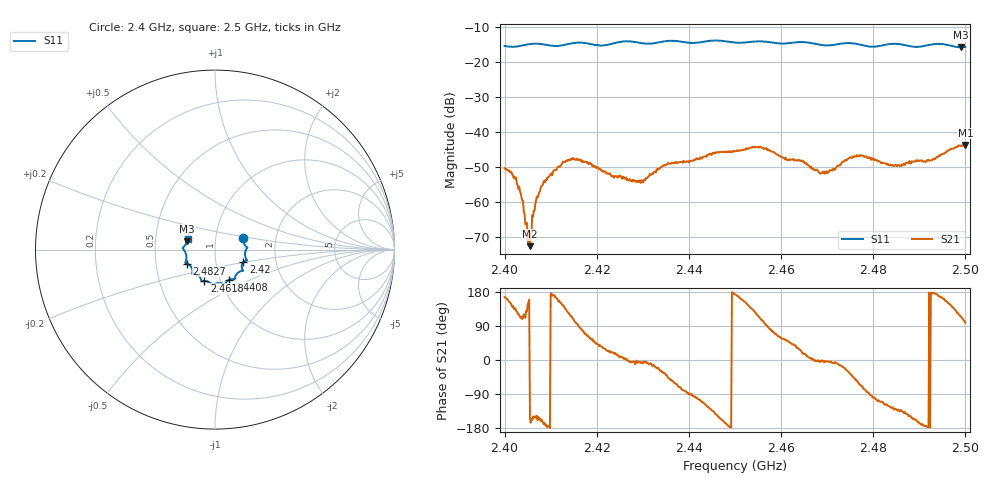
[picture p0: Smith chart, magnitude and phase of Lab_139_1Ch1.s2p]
# Hz S RI R 50
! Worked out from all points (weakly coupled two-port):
!   601 points, 2.4 GHz to 2.5 GHz, reference 50 ohm
!   highest |S21| = -43.73 dB at 2.5 GHz (marker M1); lowest = -72.6 dB at 2.4055 GHz (marker M2)
!   lowest |S11| = -15.8 dB at 2.499 GHz (marker M3), VSWR 1.39, Z = 36.5 + j3.53 ohm
!   |S11| at or under -10 dB: start of sweep to end of sweep
!   S12 and S22 are empty: the file has one direction only
!   S11 on the Smith chart (normalised r, x): 2.4 GHz: 1.36, +0.17; 2.42 GHz: 1.36, -0.19; 2.4408 GHz: 1.10, -0.38; 2.4618 GHz: 0.84, -0.30; 2.4827 GHz: 0.72, -0.12; 2.5 GHz: 0.73, +0.09
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2.4e9  0.1562 0.0624  -0.00294 0.000718  0 0  0 0
2.402667e9  0.1627 0.0299  -0.00113 0.00142  0 0  0 0
2.405e9  0.1765 0.0142  -0.000258 0.000179  0 0  0 0
2.4055e9  0.1788 0.013  -0.00021 -0.000103  0 0  0 0
2.4065e9  0.1811 0.0116  -0.000663 -0.00036  0 0  0 0
2.4085e9  0.1771 0.00585  -0.00194 -0.000363  0 0  0 0
2.413167e9  0.1702 -0.0428  -0.00267 0.00258  0 0  0 0
2.416667e9  0.1782 -0.0595  0.000559 0.00373  0 0  0 0
2.42e9  0.1579 -0.0692  0.00227 0.00215  0 0  0 0
2.429e9  0.1449 -0.1198  0.00196 -0.000219  0 0  0 0
2.433333e9  0.112 -0.1521  0.0028 -0.00105  0 0  0 0
2.440833e9  0.0789 -0.1687  -0.000368 -0.00388  0 0  0 0
2.45e9  0.0279 -0.186  -0.0053 0.000588  0 0  0 0
2.455667e9  -0.0134 -0.1955  -0.00171 0.0058  0 0  0 0
2.461833e9  -0.06 -0.1751  0.00283 0.00297  0 0  0 0
2.466667e9  -0.0769 -0.1684  0.003 3.81e-05  0 0  0 0
2.47e9  -0.0951 -0.1427  0.00258 -0.000168  0 0  0 0
2.477e9  -0.1254 -0.1244  0.00199 -0.00408  0 0  0 0
2.482667e9  -0.1572 -0.0778  -0.00162 -0.00313  0 0  0 0
2.483333e9  -0.1613 -0.0763  -0.00176 -0.0029  0 0  0 0
2.499e9  -0.1544 0.0472  -0.0026 0.00576  0 0  0 0
2.5e9  -0.1519 0.0616  -0.000906 0.00644  0 0  0 0
